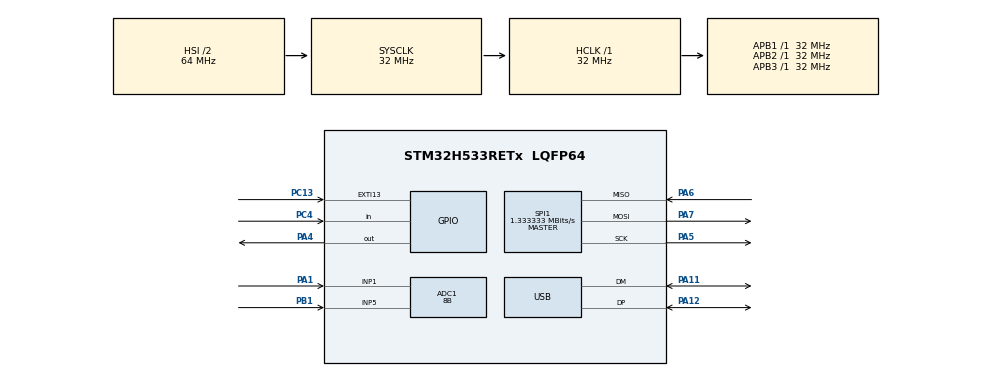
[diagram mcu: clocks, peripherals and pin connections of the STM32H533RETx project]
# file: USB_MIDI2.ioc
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ADC1.Channel-0\#ChannelRegularConversion=ADC_CHANNEL_1
ADC1.ClockPrescaler=ADC_CLOCK_ASYNC_DIV4
ADC1.DMAContinuousRequests=ENABLE
ADC1.ExternalTrigConv=ADC_EXTERNALTRIG_T6_TRGO
ADC1.MonitoredBy-0\#ChannelRegularConversion=__NULL
ADC1.NbrOfConversionFlag=1
ADC1.OffsetNumber-0\#ChannelRegularConversion=ADC_OFFSET_NONE
ADC1.Rank-0\#ChannelRegularConversion=1
ADC1.Resolution=ADC_RESOLUTION_8B
ADC1.SamplingTime-0\#ChannelRegularConversion=ADC_SAMPLETIME_24CYCLES_5
ADC1.master=1
BOOTPATH.BootPathName=LEGACY
BOOTPATH.UserSelectedBootPath=LEGACY
CORTEX_M33_NS.userName=CORTEX_M33
GPDMA1.CIRCULARMODE_GPDMACH0=ENABLE
GPDMA1.IPHANDLE_GPDMACH0-SIMPLEREQUEST_GPDMACH0=__NULL
GPDMA1.REQUEST_GPDMACH0=GPDMA1_REQUEST_ADC1
Mcu.Family=STM32H5
Mcu.Name=STM32H533RETx
Mcu.Package=LQFP64
NUCLEO-H533RE.BUTTON=1
NUCLEO-H533RE.VCP=true
NVIC.EXTI13_IRQn=true\:0\:0\:false\:false\:true\:false\:true\:true
NVIC.GPDMA1_Channel0_IRQn=true\:0\:0\:false\:false\:true\:false\:true\:true
NVIC.PriorityGroup=NVIC_PRIORITYGROUP_4
NVIC.USB_DRD_FS_IRQn=true\:0\:0\:false\:false\:true\:true\:true\:true
PA1.Signal=ADCx_INP1
PA11.Mode=Device
PA11.Signal=USB_DM
PA12.Mode=Device
PA12.Signal=USB_DP
PA13(JTMS/SWDIO).GPIO_Label=SWDIO
PA13(JTMS/SWDIO).Signal=DEBUG_JTMS-SWDIO
PA14(JTCK/SWCLK).GPIO_Label=SWCLK
PA14(JTCK/SWCLK).Signal=DEBUG_JTCK-SWCLK
PA15(JTDI).GPIO_Label=JTDI
PA15(JTDI).Signal=DEBUG_JTDI
PA2.Signal=USART2_TX
PA3.Signal=USART2_RX
PA4.GPIO_Speed=GPIO_SPEED_FREQ_HIGH
PA4.PinState=GPIO_PIN_SET
PA4.Signal=GPIO_Output
PA5.Mode=Full_Duplex_Master
PA5.Signal=SPI1_SCK
PA6.Mode=Full_Duplex_Master
PA6.Signal=SPI1_MISO
PA7.Mode=Full_Duplex_Master
PA7.Signal=SPI1_MOSI
PB1.Signal=ADCx_INP5
PB3(JTDO/TRACESWO).GPIO_Label=SWO
PB3(JTDO/TRACESWO).Signal=DEBUG_JTDO-SWO
PC13.Signal=GPXTI13
PC4.Signal=GPIO_Input
PH0-OSC_IN(PH0).Mode=HSE-External-Clock-Source
PH0-OSC_IN(PH0).Signal=RCC_OSC_IN
ProjectManager.HeapSize=0x200
ProjectManager.StackSize=0x400
ProjectManager.TargetToolchain=MDK-ARM V5.37
RCC.ADCFreq_Value=32000000
RCC.AHBFreq_Value=32000000
RCC.APB1Freq_Value=32000000
RCC.APB1TimFreq_Value=32000000
RCC.APB2Freq_Value=32000000
RCC.APB2TimFreq_Value=32000000
RCC.APB3Freq_Value=32000000
RCC.CSI_VALUE=4000000
RCC.CortexFreq_Value=32000000
RCC.EPOD_VALUE=4000000
RCC.HCLKFreq_Value=32000000
RCC.HSE_VALUE=25000000
RCC.HSI48_VALUE=48000000
RCC.HSI_VALUE=64000000
RCC.LSE_VALUE=32768
RCC.LSIRC_VALUE=32000
RCC.PLL1Q=3
RCC.PLLFRACN=0
RCC.PLLN=32
RCC.SYSCLKFreq_VALUE=32000000
RCC.USBFreq_Value=48000000
RCC.VCOOutputFreq_Value=128000000
SH.ADCx_INP1.0=ADC1_INP1,IN1-Single-Ended
SH.ADCx_INP5.0=ADC1_INP5,IN5-Single-Ended
SPI1.BaudRatePrescaler=SPI_BAUDRATEPRESCALER_32
SPI1.CalculateBaudRate=1.333333 MBits/s
SPI1.DataSize=SPI_DATASIZE_8BIT
SPI1.Direction=SPI_DIRECTION_2LINES
SPI1.Mode=SPI_MODE_MASTER
SPI1.VirtualType=VM_MASTER
TIM6.PeriodNoDither=999
TIM6.Prescaler=249
TIM6.TIM_MasterOutputTrigger=TIM_TRGO_UPDATE
USB.VirtualMode=Device_Only
VP_BOOTPATH_VS_BOOTPATH.Mode=BP_Activate
VP_CORTEX_M33_NS_VS_Hclk.Mode=Hclk_Mode
VP_GPDMA1_VS_GPDMACH0.Mode=SIMPLEREQUEST_GPDMACH0
VP_MEMORYMAP_VS_MEMORYMAP.Mode=CurAppReg
VP_NUCLEO-H533RE_VS_BSP_COMMON.Mode=COMMON
VP_PWR_VS_LPOM.Mode=PowerOptimisation
VP_PWR_VS_SECSignals.Mode=Security/Privilege
VP_TIM6_VS_ClockSourceINT.Mode=Enable_Timer
board=NUCLEO-H533RE

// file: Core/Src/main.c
/* USER CODE BEGIN Header */
/**
  ******************************************************************************
  * @file           : main.c
  * @brief          : Main program body
  ******************************************************************************
  * @attention
  *
  * Copyright (c) 2026 STMicroelectronics.
  * All rights reserved.
  *
  * This software is licensed under terms that can be found in the LICENSE file
  * in the root directory of this software component.
  * If no LICENSE file comes with this software, it is provided AS-IS.
  *
  ******************************************************************************
  */
/* USER CODE END Header */
#include "main.h"

/* USER CODE BEGIN Includes */
#include "tusb.h"
#include <stdbool.h>
/* USER CODE END Includes */

/* USER CODE BEGIN PD */

// ================================================================
// MCP23S17 - SPI GPIO uitbreidingschip (16 extra GPIO pinnen via SPI)
// ================================================================

// Registeradressen van de MCP23S17
// Het IODIR-register bepaalt of een pin ingang (1) of uitgang (0) is
#define MCP23S17_IODIRA   0x00  // Richting register poort A (0=uitgang, 1=ingang)
#define MCP23S17_IODIRB   0x01  // Richting register poort B (0=uitgang, 1=ingang)
#define MCP23S17_GPPUA    0x0C  // Pull-up weerstand register poort A (1=aan, 0=uit)
#define MCP23S17_GPPUB    0x0D  // Pull-up weerstand register poort B (1=aan, 0=uit)
#define MCP23S17_GPIOA    0x12  // Data register poort A - lezen/schrijven van pin-waarden
#define MCP23S17_GPIOB    0x13  // Data register poort B - lezen/schrijven van pin-waarden

// SPI Control Byte: dit is het eerste byte dat je stuurt over SPI
// Opgebouwd als: 0100 A2 A1 A0 R/W  (A2-A0 = hardware adres, R/W = lezen of schrijven)
#define MCP23S17_ADDR     0x40  // Hardware adres: A0=A1=A2=GND, dus adres = 000 -> 0x40
#define MCP23S17_WRITE    0x00  // Bit 0 = 0 => schrijven naar de chip
#define MCP23S17_READ     0x01  // Bit 0 = 1 => lezen van de chip

// Chip Select (CS) pin - PC9
// CS LOW = chip geselecteerd (communicatie actief)
// CS HIGH = chip vrijgegeven (communicatie gestopt)
#define CS_PIN            GPIO_PIN_9
#define CS_PORT           GPIOC
#define CS_LOW()          HAL_GPIO_WritePin(CS_PORT, CS_PIN, GPIO_PIN_RESET)  // Start SPI-communicatie
#define CS_HIGH()         HAL_GPIO_WritePin(CS_PORT, CS_PIN, GPIO_PIN_SET)    // Stop SPI-communicatie

// ================================================================
// Knoppenmatrix configuratie (4x4 = 16 knoppen)
// ================================================================
// De matrix werkt met rijen en kolommen: kolom laag zetten, dan rijen lezen
// Als een knop ingedrukt is, verbindt hij de kolom met de rij -> rij gaat laag
#define MATRIX_ROWS       4          // 4 rijen (rij 0-3 via poort B bits 0-3)
#define MATRIX_COLS       4          // 4 kolommen (kolom 0-3 via poort A bits 0-3)
#define BASE_NOTE         60         // Startnoot = Middle C (MIDI nootnummer 60)

/* USER CODE END PD */

COM_InitTypeDef BspCOMInit;
ADC_HandleTypeDef hadc1;
DMA_NodeTypeDef Node_GPDMA1_Channel0;
DMA_QListTypeDef List_GPDMA1_Channel0;
DMA_HandleTypeDef handle_GPDMA1_Channel0;

SPI_HandleTypeDef hspi1;

TIM_HandleTypeDef htim6;

/* USER CODE BEGIN PV */

// Vorige toestand van elke knop bijhouden (16 knoppen in 4x4 matrix)
// true = knop was ingedrukt, false = knop was losgelaten
// Hiermee detecteren we het MOMENT van indrukken/loslaten (flank-detectie)
static bool button_prev_state[16] = {false};

// ADC-buffers voor potentiometers (2 kanalen)
// PA1 (ADC_CHANNEL_1)  -> potentiometer 1 -> MIDI CC #7
// PB1 (ADC_CHANNEL_5)  -> potentiometer 2 -> MIDI CC #11
static uint8_t adc_buffer[2] = {0, 0};
static uint8_t adc_prev[2] = {255, 255};

/* USER CODE END PV */

void SystemClock_Config(void);
static void MX_GPIO_Init(void);
static void MX_GPDMA1_Init(void);
static void MX_ADC1_Init(void);
static void MX_TIM6_Init(void);
static void MX_SPI1_Init(void);
/* USER CODE BEGIN PFP */
extern void tusb_hal_init(void);
void midi_task(void);
void mcp23s17_write_reg(uint8_t reg, uint8_t value);
uint8_t mcp23s17_read_reg(uint8_t reg);
void mcp23s17_init(void);
void scan_matrix(void);
void send_midi_note(uint8_t note, bool on);
void handle_potentiometers(void);
void send_midi_cc(uint8_t controller, uint8_t value);
/* USER CODE END PFP */

int main(void)
{

  /* MCU Configuration--------------------------------------------------------*/

  /* Reset of all peripherals, Initializes the Flash interface and the Systick. */
  HAL_Init();

  /* Configure the system clock */
  SystemClock_Config();

  /* Initialize all configured peripherals */
  MX_GPIO_Init();
  MX_GPDMA1_Init();
  MX_ADC1_Init();
  MX_TIM6_Init();
  MX_SPI1_Init();
  /* USER CODE BEGIN 2 */

  // Voorkom USB-interrupts voordat TinyUSB volledig geïnitialiseerd is.
  HAL_NVIC_DisableIRQ(USB_DRD_FS_IRQn);

  // Correcte TinyUSB volgorde: eerst hardwarelaag, dan stack initialiseren.
  tusb_hal_init();
  tusb_init();

  // TinyUSB is klaar: wis eventuele pending USB interrupt en zet IRQ terug aan.
  HAL_NVIC_ClearPendingIRQ(USB_DRD_FS_IRQn);
  HAL_NVIC_EnableIRQ(USB_DRD_FS_IRQn);

  // Wacht even zodat de computer de USB-verbinding kan herkennen en configureren
  HAL_Delay(1000);

  // Configureer de MCP23S17 (richtingen, pull-ups, beginwaarden)
  mcp23s17_init();

  // Start timer-trigger en ADC DMA zodat adc_buffer continu wordt ververst
  if (HAL_TIM_Base_Start(&htim6) != HAL_OK)
  {
    Error_Handler();
  }

  if (HAL_ADC_Start_DMA(&hadc1, (uint32_t *)adc_buffer, 2) != HAL_OK)
  {
    Error_Handler();
  }

  /* USER CODE END 2 */

  /* Initialize USER push-button, will be used to trigger an interrupt each time it's pressed.*/
  BSP_PB_Init(BUTTON_USER, BUTTON_MODE_EXTI);

  /* Initialize COM1 port (115200, 8 bits (7-bit data + 1 stop bit), no parity */
  BspCOMInit.BaudRate   = 115200;
  BspCOMInit.WordLength = COM_WORDLENGTH_8B;
  BspCOMInit.StopBits   = COM_STOPBITS_1;
  BspCOMInit.Parity     = COM_PARITY_NONE;
  BspCOMInit.HwFlowCtl  = COM_HWCONTROL_NONE;
  if (BSP_COM_Init(COM1, &BspCOMInit) != BSP_ERROR_NONE)
  {
    Error_Handler();
  }

  /* Infinite loop */
  /* USER CODE BEGIN WHILE */
  while (1)  // Hoofdlus: draait continu zolang het apparaat aan is
  {
    // Verwerk alle USB-events (verbinding, data ontvangen/verzenden, etc.)
    // MOET regelmatig aangeroepen worden, anders werkt USB niet correct
    tud_task();

    // Scan de 4x4 knoppenmatrix en detecteer indrukken/loslaten
    scan_matrix();

    // Lees potentiometers en stuur MIDI CC's
    handle_potentiometers();

    // Verwerk MIDI-taken: binnenkomende data lezen + LED laten knipperen
    midi_task();

    /* USER CODE END WHILE */

  }
}

void SystemClock_Config(void)
{
  RCC_OscInitTypeDef RCC_OscInitStruct = {0};
  RCC_ClkInitTypeDef RCC_ClkInitStruct = {0};

  /** Configure the main internal regulator output voltage
  */
  __HAL_PWR_VOLTAGESCALING_CONFIG(PWR_REGULATOR_VOLTAGE_SCALE3);

  while(!__HAL_PWR_GET_FLAG(PWR_FLAG_VOSRDY)) {}

  /** Initializes the RCC Oscillators according to the specified parameters
  * in the RCC_OscInitTypeDef structure.
  */
  RCC_OscInitStruct.OscillatorType = RCC_OSCILLATORTYPE_HSI48|RCC_OSCILLATORTYPE_HSI
                              |RCC_OSCILLATORTYPE_CSI;
  RCC_OscInitStruct.HSIState = RCC_HSI_ON;
  RCC_OscInitStruct.HSIDiv = RCC_HSI_DIV2;
  RCC_OscInitStruct.HSICalibrationValue = RCC_HSICALIBRATION_DEFAULT;
  RCC_OscInitStruct.HSI48State = RCC_HSI48_ON;
  RCC_OscInitStruct.CSIState = RCC_CSI_ON;
  RCC_OscInitStruct.CSICalibrationValue = RCC_CSICALIBRATION_DEFAULT;
  RCC_OscInitStruct.PLL.PLLState = RCC_PLL_ON;
  RCC_OscInitStruct.PLL.PLLSource = RCC_PLL1_SOURCE_CSI;
  RCC_OscInitStruct.PLL.PLLM = 1;
  RCC_OscInitStruct.PLL.PLLN = 32;
  RCC_OscInitStruct.PLL.PLLP = 2;
  RCC_OscInitStruct.PLL.PLLQ = 3;
  RCC_OscInitStruct.PLL.PLLR = 2;
  RCC_OscInitStruct.PLL.PLLRGE = RCC_PLL1_VCIRANGE_2;
  RCC_OscInitStruct.PLL.PLLVCOSEL = RCC_PLL1_VCORANGE_WIDE;
  RCC_OscInitStruct.PLL.PLLFRACN = 0;
  if (HAL_RCC_OscConfig(&RCC_OscInitStruct) != HAL_OK)
  {
    Error_Handler();
  }

  /** Initializes the CPU, AHB and APB buses clocks
  */
  RCC_ClkInitStruct.ClockType = RCC_CLOCKTYPE_HCLK|RCC_CLOCKTYPE_SYSCLK
                              |RCC_CLOCKTYPE_PCLK1|RCC_CLOCKTYPE_PCLK2
                              |RCC_CLOCKTYPE_PCLK3;
  RCC_ClkInitStruct.SYSCLKSource = RCC_SYSCLKSOURCE_HSI;
  RCC_ClkInitStruct.AHBCLKDivider = RCC_SYSCLK_DIV1;
  RCC_ClkInitStruct.APB1CLKDivider = RCC_HCLK_DIV1;
  RCC_ClkInitStruct.APB2CLKDivider = RCC_HCLK_DIV1;
  RCC_ClkInitStruct.APB3CLKDivider = RCC_HCLK_DIV1;

  if (HAL_RCC_ClockConfig(&RCC_ClkInitStruct, FLASH_LATENCY_1) != HAL_OK)
  {
    Error_Handler();
  }

  /** Configure the programming delay
  */
  __HAL_FLASH_SET_PROGRAM_DELAY(FLASH_PROGRAMMING_DELAY_0);
}

static void MX_ADC1_Init(void)
{

  ADC_ChannelConfTypeDef sConfig = {0};

  /** Common config
  */
  hadc1.Instance = ADC1;
  hadc1.Init.ClockPrescaler = ADC_CLOCK_ASYNC_DIV4;
  hadc1.Init.Resolution = ADC_RESOLUTION_8B;
  hadc1.Init.DataAlign = ADC_DATAALIGN_RIGHT;
  hadc1.Init.ScanConvMode = ADC_SCAN_ENABLE;
  hadc1.Init.EOCSelection = ADC_EOC_SINGLE_CONV;
  hadc1.Init.LowPowerAutoWait = DISABLE;
  hadc1.Init.ContinuousConvMode = DISABLE;
  hadc1.Init.NbrOfConversion = 2;
  hadc1.Init.DiscontinuousConvMode = DISABLE;
  hadc1.Init.ExternalTrigConv = ADC_EXTERNALTRIG_T6_TRGO;
  hadc1.Init.ExternalTrigConvEdge = ADC_EXTERNALTRIGCONVEDGE_RISING;
  hadc1.Init.DMAContinuousRequests = ENABLE;
  hadc1.Init.SamplingMode = ADC_SAMPLING_MODE_NORMAL;
  hadc1.Init.Overrun = ADC_OVR_DATA_PRESERVED;
  hadc1.Init.OversamplingMode = DISABLE;
  if (HAL_ADC_Init(&hadc1) != HAL_OK)
  {
    Error_Handler();
  }

  /** Configure Regular Channel
  */
  sConfig.Channel = ADC_CHANNEL_1;
  sConfig.Rank = ADC_REGULAR_RANK_1;
  sConfig.SamplingTime = ADC_SAMPLETIME_24CYCLES_5;
  sConfig.SingleDiff = ADC_SINGLE_ENDED;
  sConfig.OffsetNumber = ADC_OFFSET_NONE;
  sConfig.Offset = 0;
  if (HAL_ADC_ConfigChannel(&hadc1, &sConfig) != HAL_OK)
  {
    Error_Handler();
  }

  /** Configure Regular Channel
  */
  sConfig.Channel = ADC_CHANNEL_5;
  sConfig.Rank = ADC_REGULAR_RANK_2;
  sConfig.SamplingTime = ADC_SAMPLETIME_24CYCLES_5;
  if (HAL_ADC_ConfigChannel(&hadc1, &sConfig) != HAL_OK)
  {
    Error_Handler();
  }

}

static void MX_GPDMA1_Init(void)
{

  /* Peripheral clock enable */
  __HAL_RCC_GPDMA1_CLK_ENABLE();

  /* GPDMA1 interrupt Init */
    HAL_NVIC_SetPriority(GPDMA1_Channel0_IRQn, 0, 0);
    HAL_NVIC_EnableIRQ(GPDMA1_Channel0_IRQn);

}

static void MX_SPI1_Init(void)
{

  /* SPI1 parameter configuration*/
  hspi1.Instance = SPI1;
  hspi1.Init.Mode = SPI_MODE_MASTER;
  hspi1.Init.Direction = SPI_DIRECTION_2LINES;
  hspi1.Init.DataSize = SPI_DATASIZE_8BIT;
  hspi1.Init.CLKPolarity = SPI_POLARITY_LOW;
  hspi1.Init.CLKPhase = SPI_PHASE_1EDGE;
  hspi1.Init.NSS = SPI_NSS_SOFT;
  hspi1.Init.BaudRatePrescaler = SPI_BAUDRATEPRESCALER_32;
  hspi1.Init.FirstBit = SPI_FIRSTBIT_MSB;
  hspi1.Init.TIMode = SPI_TIMODE_DISABLE;
  hspi1.Init.CRCCalculation = SPI_CRCCALCULATION_DISABLE;
  hspi1.Init.CRCPolynomial = 0x7;
  hspi1.Init.NSSPMode = SPI_NSS_PULSE_ENABLE;
  hspi1.Init.NSSPolarity = SPI_NSS_POLARITY_LOW;
  hspi1.Init.FifoThreshold = SPI_FIFO_THRESHOLD_01DATA;
  hspi1.Init.MasterSSIdleness = SPI_MASTER_SS_IDLENESS_00CYCLE;
  hspi1.Init.MasterInterDataIdleness = SPI_MASTER_INTERDATA_IDLENESS_00CYCLE;
  hspi1.Init.MasterReceiverAutoSusp = SPI_MASTER_RX_AUTOSUSP_DISABLE;
  hspi1.Init.MasterKeepIOState = SPI_MASTER_KEEP_IO_STATE_DISABLE;
  hspi1.Init.IOSwap = SPI_IO_SWAP_DISABLE;
  hspi1.Init.ReadyMasterManagement = SPI_RDY_MASTER_MANAGEMENT_INTERNALLY;
  hspi1.Init.ReadyPolarity = SPI_RDY_POLARITY_HIGH;
  if (HAL_SPI_Init(&hspi1) != HAL_OK)
  {
    Error_Handler();
  }

}

static void MX_TIM6_Init(void)
{

  TIM_MasterConfigTypeDef sMasterConfig = {0};

  htim6.Instance = TIM6;
  htim6.Init.Prescaler = 249;
  htim6.Init.CounterMode = TIM_COUNTERMODE_UP;
  htim6.Init.Period = 999;
  htim6.Init.AutoReloadPreload = TIM_AUTORELOAD_PRELOAD_DISABLE;
  if (HAL_TIM_Base_Init(&htim6) != HAL_OK)
  {
    Error_Handler();
  }
  sMasterConfig.MasterOutputTrigger = TIM_TRGO_UPDATE;
  sMasterConfig.MasterSlaveMode = TIM_MASTERSLAVEMODE_DISABLE;
  if (HAL_TIMEx_MasterConfigSynchronization(&htim6, &sMasterConfig) != HAL_OK)
  {
    Error_Handler();
  }

}

static void MX_GPIO_Init(void)
{
  GPIO_InitTypeDef GPIO_InitStruct = {0};

  /* GPIO Ports Clock Enable */
  __HAL_RCC_GPIOH_CLK_ENABLE();
  __HAL_RCC_GPIOA_CLK_ENABLE();
  __HAL_RCC_GPIOC_CLK_ENABLE();
  __HAL_RCC_GPIOB_CLK_ENABLE();

  /*Configure GPIO pin Output Level */
  HAL_GPIO_WritePin(GPIOA, GPIO_PIN_4, GPIO_PIN_SET);

  /*Configure GPIO pin : PA4 */
  GPIO_InitStruct.Pin = GPIO_PIN_4;
  GPIO_InitStruct.Mode = GPIO_MODE_OUTPUT_PP;
  GPIO_InitStruct.Pull = GPIO_NOPULL;
  GPIO_InitStruct.Speed = GPIO_SPEED_FREQ_HIGH;
  HAL_GPIO_Init(GPIOA, &GPIO_InitStruct);

  /*Configure GPIO pin : PC4 */
  GPIO_InitStruct.Pin = GPIO_PIN_4;
  GPIO_InitStruct.Mode = GPIO_MODE_INPUT;
  GPIO_InitStruct.Pull = GPIO_NOPULL;
  HAL_GPIO_Init(GPIOC, &GPIO_InitStruct);

}

/* USER CODE BEGIN 4 */

//--------------------------------------------------------------------+
// MCP23S17 Functions
//--------------------------------------------------------------------+

// Schrijft een waarde naar een intern register van de MCP23S17 via SPI
// Werking: stuur 3 bytes over SPI: [controle-byte | registeradres | waarde]
void mcp23s17_write_reg(uint8_t reg, uint8_t value)
{
  uint8_t tx_data[3];
  tx_data[0] = MCP23S17_ADDR | MCP23S17_WRITE; // Controle-byte: adres van de chip + schrijf-bit
  tx_data[1] = reg;                             // Welk register wil je schrijven?
  tx_data[2] = value;                           // Welke waarde wil je erin zetten?

  CS_LOW();                                     // Activeer de chip (communicatie starten)
  HAL_SPI_Transmit(&hspi1, tx_data, 3, 100);    // Stuur 3 bytes via SPI (timeout 100ms)
  CS_HIGH();                                    // Deactiveer de chip (communicatie stoppen)
}

// Leest de waarde uit een intern register van de MCP23S17 via SPI
// SPI is full-duplex: zenden en ontvangen gebeuren tegelijkertijd
// Werking: stuur 3 bytes [controle-byte | registeradres | dummy], ontvang 3 bytes tegelijk
uint8_t mcp23s17_read_reg(uint8_t reg)
{
  // Verzenddata: byte 0 = controle (adres + lees-bit), byte 1 = registeradres, byte 2 = dummy (0xFF)
  uint8_t tx_data[3] = { MCP23S17_ADDR | MCP23S17_READ, reg, 0xFF };
  uint8_t rx_data[3] = { 0, 0, 0 };  // Ontvangstbuffer (3 bytes, evenredig met verzonden bytes)

  CS_LOW();                                                    // Activeer de chip
  HAL_SPI_TransmitReceive(&hspi1, tx_data, rx_data, 3, 100);  // Stuur en ontvang tegelijk (full-duplex)
  CS_HIGH();                                                   // Deactiveer de chip

  // De echte registerwaarde zit in het DERDE ontvangen byte
  // (de eerste twee bytes zijn rommel die de chip stuurt terwijl hij het adres verwerkt)
  return rx_data[2];
}

// Initialiseer de MCP23S17: stel richtingen, pull-ups en beginwaarden in
//
// Matrixopbouw:
//   Poort A bits 0-3 = KOLOMMEN (uitgangen) -> we sturen ze aan
//   Poort B bits 0-3 = RIJEN    (ingangen)  -> we lezen ze af
//
// Hoe de matrix werkt:
//   1. Zet één kolom LAAG, de rest HOOG
//   2. Lees alle rijen: als een rij LAAG is, dan is de knop op die rij+kolom ingedrukt
//   3. Rijen hebben pull-ups: standaard HOOG, bij indrukken verbinding naar de lage kolom -> rij gaat LAAG
void mcp23s17_init(void)
{
  // Wacht zodat de MCP23S17 volledig is opgestart
  HAL_Delay(50);

  // Poort A: bits 0-3 = uitgang (kolommen), bits 4-7 = ingang (niet gebruikt)
  // 0xF0 = 1111 0000 in binair: bit=1 = ingang, bit=0 = uitgang
  mcp23s17_write_reg(MCP23S17_IODIRA, 0xF0);

  // Poort B: alle bits = ingang (rijen + niet-gebruikte pinnen)
  // 0xFF = 1111 1111 in binair: alle pinnen als ingang
  mcp23s17_write_reg(MCP23S17_IODIRB, 0xFF);

  // Poort A heeft geen pull-ups nodig (zijn uitgangen)
  mcp23s17_write_reg(MCP23S17_GPPUA, 0x00);

  // Poort B rijen (bits 0-3) krijgen interne pull-up weerstanden
  // Hierdoor staat een rij standaard HOOG en gaat LAAG als een knop ingedrukt wordt
  mcp23s17_write_reg(MCP23S17_GPPUB, 0x0F);

  // Alle kolommen beginnen HOOG (ruststand, geen kolom geselecteerd)
  // 0x0F = 0000 1111: bits 0-3 HOOG
  mcp23s17_write_reg(MCP23S17_GPIOA, 0x0F);

  // Kleine pauze om de chip te laten stabiliseren
  HAL_Delay(10);
}

//--------------------------------------------------------------------+
// Matrix Scanning
//--------------------------------------------------------------------+

// Scant de 4x4 knoppenmatrix en stuurt MIDI-berichten bij toestandsverandering
//
// Algoritme per scancyclus:
//   Voor elke kolom (0-3):
//     1. Zet die kolom LAAG, alle andere HOOG
//     2. Wacht even zodat de signalen stabiliseren
//     3. Lees de 4 rijen: rij LAAG = knop ingedrukt (door pull-up)
//     4. Pas debounceteller aan per knop
//     5. Als toestand veranderd: stuur Note On of Note Off
void scan_matrix(void)
{
  static uint32_t last_scan_ms = 0;

  // Scan elke 50 milliseconden (te snel scannen geeft problemen met debouncen)
  if (HAL_GetTick() - last_scan_ms < 50) {
    return;  // Nog niet 50ms verstreken -> niets doen
  }
  last_scan_ms = HAL_GetTick();  // Sla het tijdstip van deze scan op

  // Controleer of de MCP23S17 nog correct werkt door IODIRB terug te lezen
  // IODIRB moet 0xFF zijn (alles ingang) - als dat niet zo is, is er een fout
  uint8_t iodirb = mcp23s17_read_reg(MCP23S17_IODIRB);
  if (iodirb != 0xFF) {
    // MCP23S17 geeft een verkeerde waarde -> opnieuw initialiseren en scan overslaan
    mcp23s17_init();
    return;
  }

  // Debounceteller per knop: telt hoeveel keer de knop aaneengesloten hetzelfde was
  // Doel: vermijden dat een knop meerdere keren triggert door contact-stuiter (bounce)
  static uint8_t debounce_count[16] = {0};
  const uint8_t DEBOUNCE_THRESHOLD = 2; // Knop moet 2 scans stabiel zijn voor we hem accepteren

  // Loop over alle 4 kolommen
  for (uint8_t col = 0; col < MATRIX_COLS; col++)
  {
    // Maak een patroon waarbij alleen de huidige kolom LAAG is, de rest HOOG
    // Voorbeeld: col=1 -> ~(0000 0010) & 0x0F = 1111 1101 & 0x0F = 0000 1101
    uint8_t col_pattern = ~(1 << col) & 0x0F;
    mcp23s17_write_reg(MCP23S17_GPIOA, col_pattern);  // Stel kolompatroon in

    // Korte wachttijd zodat de spanning op de pinnen kan stabiliseren
    // (HAL_Delay kan niet want die blokkeert te lang - luttele microseconden volstaan)
    for (volatile uint16_t i = 0; i < 100; i++);

    // Lees de toestand van de 4 rijen (bits 0-3 van poort B)
    // 0x0F masker = we willen alleen de onderste 4 bits
    uint8_t row_data = mcp23s17_read_reg(MCP23S17_GPIOB) & 0x0F;

    // Controleer elke rij of de knop ingedrukt is
    for (uint8_t row = 0; row < MATRIX_ROWS; row++)
    {
      // Bereken de unieke index van deze knop (0-15)
      // Rij 0, kolom 0 = knop 0; rij 0, kolom 1 = knop 1; rij 1, kolom 0 = knop 4; enz.
      uint8_t button_index = row * MATRIX_COLS + col;

      // Knop is ingedrukt als de bijbehorende rijbit LAAG is (dankzij pull-up logica)
      // !(row_data & (1 << row)): als bit van de rij 0 is -> ingedrukt = true
      bool pressed = !(row_data & (1 << row));

      // Debounce: verhoog teller als ingedrukt, verlaag als losgelaten
      if (pressed) {
        if (debounce_count[button_index] < DEBOUNCE_THRESHOLD) {
          debounce_count[button_index]++;  // Knop stabiel ingedrukt: teller omhoog
        }
      } else {
        if (debounce_count[button_index] > 0) {
          debounce_count[button_index]--;  // Knop stabiel losgelaten: teller omlaag
        }
      }

      // Knop is pas "officieel" ingedrukt als de teller de drempel bereikt
      bool new_state = (debounce_count[button_index] >= DEBOUNCE_THRESHOLD);

      // Flank-detectie: detecteer de OVERGANG van losgelaten naar ingedrukt en omgekeerd
      if (new_state && !button_prev_state[button_index])
      {
        // Stijgende flank: knop werd NET ingedrukt -> stuur MIDI Note On
        uint8_t note = BASE_NOTE + button_index;  // Nootnummer = 60 + knoopindex (0-15)
        send_midi_note(note, true);
        button_prev_state[button_index] = true;  // Sla nieuwe toestand op
      }
      else if (!new_state && button_prev_state[button_index])
      {
        // Dalende flank: knop werd NET losgelaten -> stuur MIDI Note Off
        uint8_t note = BASE_NOTE + button_index;
        send_midi_note(note, false);
        button_prev_state[button_index] = false;  // Sla nieuwe toestand op
      }
    }
  }

  // Zet alle kolommen terug HOOG na de scan (ruststand)
  mcp23s17_write_reg(MCP23S17_GPIOA, 0x0F);
}

//--------------------------------------------------------------------+
// MIDI Functions
//--------------------------------------------------------------------+

// Stuurt een MIDI CC (Control Change) bericht over USB naar de computer
//
// MIDI CC bericht: [0xB0 | kanaal, controller#, waarde]
// controller# = 0-119 (verschillende MIDI CC's)
// waarde = 0-127 (controlwaarde, bijv. volume)
//
// Gebruikte CC's:
// CC #7  (potentiometer 1 op PA1): volume
// CC #11 (potentiometer 2 op PB1): expression
void send_midi_cc(uint8_t controller, uint8_t value)
{
  // Controleer of de USB-verbinding actief is
  if (!tud_midi_mounted()) {
    return;
  }

  uint8_t cable_num = 0;   // USB MIDI kabel nummer
  uint8_t channel = 0;     // MIDI-kanaal 0 = kanaal 1
  uint8_t msg[3];          // MIDI-bericht: 3 bytes

  // CC (Control Change) bericht: statusbyte 0xB0 + kanaalnummer
  msg[0] = 0xB0 | channel;    // 0xB0 = CC commando
  msg[1] = controller;        // Welke controller (0-119)
  msg[2] = value;             // Waarde (0-127)

  // Stuur het 3-byte MIDI-bericht via USB
  tud_midi_stream_write(cable_num, msg, 3);
  tud_midi_write_flush();
}

//--------------------------------------------------------------------+
// Potentiometer Handling
//--------------------------------------------------------------------+

// Lees beide potentiometers in en stuur MIDI CC's als ze veranderen
//
// De ADC leest voortdurend PA1 (kanaal 1) en PB1 (kanaal 5) via DMA.
// Deze buffer-waarden worden aan het eind van elke ADC-conversie
// geüpdate in de DMA.
//
// PA1 (ADC_CHANNEL_1)  -> CC#7 (volume)
// PB1 (ADC_CHANNEL_5)  -> CC#11 (expression)
//
// Voor elke potentiometer:
//  1. Controleer of de waarde meer dan HYSTERESIS veranderd is
//  2. Als je, stuur MIDI CC bericht
//  3. Pas vorige waarde aan voor volgende keer
void handle_potentiometers(void)
{
  static uint32_t last_scan_ms = 0;

  if (HAL_GetTick() - last_scan_ms < 50) {
    return;
  }
  last_scan_ms = HAL_GetTick();

  uint8_t pot1 = adc_buffer[0] >> 1;
  uint8_t pot2 = adc_buffer[1] >> 1;

  int16_t diff1 = (int16_t)pot1 - (int16_t)adc_prev[0];
  int16_t diff2 = (int16_t)pot2 - (int16_t)adc_prev[1];

  // Potentiometer 1 (PA1 / ADC channel 1) -> CC #7 (Volume)
  if (diff1 > 2 || diff1 < -2)
  {
    send_midi_cc(7, pot1);  // CC #7 = Volume
    adc_prev[0] = pot1;
  }

  // Potentiometer 2 (PB1 / ADC channel 5) -> CC #11 (Expression)
  if (diff2 > 2 || diff2 < -2)
  {
    send_midi_cc(11, pot2);  // CC #11 = Expression
    adc_prev[1] = pot2;
  }
}

//--------------------------------------------------------------------+
// MIDI Functions
//--------------------------------------------------------------------+

// Stuurt een MIDI Note On of Note Off bericht over USB naar de computer
//
// MIDI Note On bericht: [0x90 | kanaal, nootnummer, velocity]
// MIDI Note Off bericht: [0x80 | kanaal, nootnummer, 0]
//
// Nootnummer 60 = Middle C, 61 = C#, 62 = D, ... 75 = D# (knop 15)
// Velocity = hoe hard de noot gespeeld wordt (hier vast op 100)
void send_midi_note(uint8_t note, bool on)
{
  // Controleer of de USB-verbinding actief is (computer heeft het apparaat herkend)
  // Geen verbinding = geen reden om te sturen
  if (!tud_midi_mounted()) {
    return;
  }

  uint8_t cable_num = 0;   // USB MIDI kabel nummer (altijd 0 bij 1 kabel)
  uint8_t channel = 0;     // MIDI-kanaal 0 = kanaal 1 (MIDI-kanalen zijn 0-15 intern)
  uint8_t velocity = 100;  // Aansilagsterkte: 0=stil, 127=maximaal (100 = redelijk hard)
  uint8_t msg[3];          // MIDI-bericht is altijd 3 bytes voor Note On/Off

  if (on)
  {
    // Note On: statusbyte 0x90 + kanaalnummer, dan nootnummer, dan velocity
    msg[0] = 0x90 | channel;  // 0x90 = Note On commando, | channel voegt kanaalnummer toe
    msg[1] = note;            // Welke noot (0-127, waarbij 60 = Middle C)
    msg[2] = velocity;        // Hoe hard (1-127, 0 wordt soms behandeld als Note Off)
  }
  else
  {
    // Note Off: statusbyte 0x80 + kanaalnummer, dan nootnummer, dan velocity 0
    msg[0] = 0x80 | channel;  // 0x80 = Note Off commando
    msg[1] = note;            // Zelfde noot als bij Note On
    msg[2] = 0;               // Velocity 0 bij Note Off (loslaat-snelheid)
  }

  // Stuur het 3-byte MIDI-bericht via USB naar de computer
  tud_midi_stream_write(cable_num, msg, 3);
  tud_midi_write_flush();
}

//--------------------------------------------------------------------+
// MIDI Task
//--------------------------------------------------------------------+

// MIDI-taak: verwerk binnenkomende MIDI-data en stuur de LED aan als statusindicator
void midi_task(void)
{
  // Lees en gooi alle binnenkomende MIDI-pakketten weg
  // WHY: de USB MIDI-interface heeft altijd een ingang én uitgang (zelfs als we de ingang niet gebruiken)
  // Als we binnenkomende data NIET lezen, raakt de buffer vol en blokkeert de computer met sturen
  uint8_t packet[4];  // MIDI USB-pakket is altijd 4 bytes (1 header + 3 data)
  while ( tud_midi_available() ) tud_midi_packet_read(packet);  // Lees en negeer

  // Gebruik de ingebouwde LED (PA5 = LD2 op Nucleo) als verbindingsindicator:
  //   - Snel knipperen (elke 250ms): USB verbonden en klaar voor gebruik
  //   - Langzaam knipperen (elke 1000ms): USB niet verbonden
  static uint32_t blink_ms = 0;
  uint32_t blink_interval = tud_midi_mounted() ? 250 : 1000;  // Kies knippersnelheid op basis van verbinding

  if (HAL_GetTick() - blink_ms > blink_interval)  // Is het tijd om te wisselen?
  {
    blink_ms = HAL_GetTick();                     // Sla het tijdstip op
    HAL_GPIO_TogglePin(GPIOA, GPIO_PIN_5);        // Wissel de LED (aan->uit of uit->aan)
  }
}

/* USER CODE END 4 */

void Error_Handler(void)
{
  __disable_irq();
  while (1)
  {
  }
}
